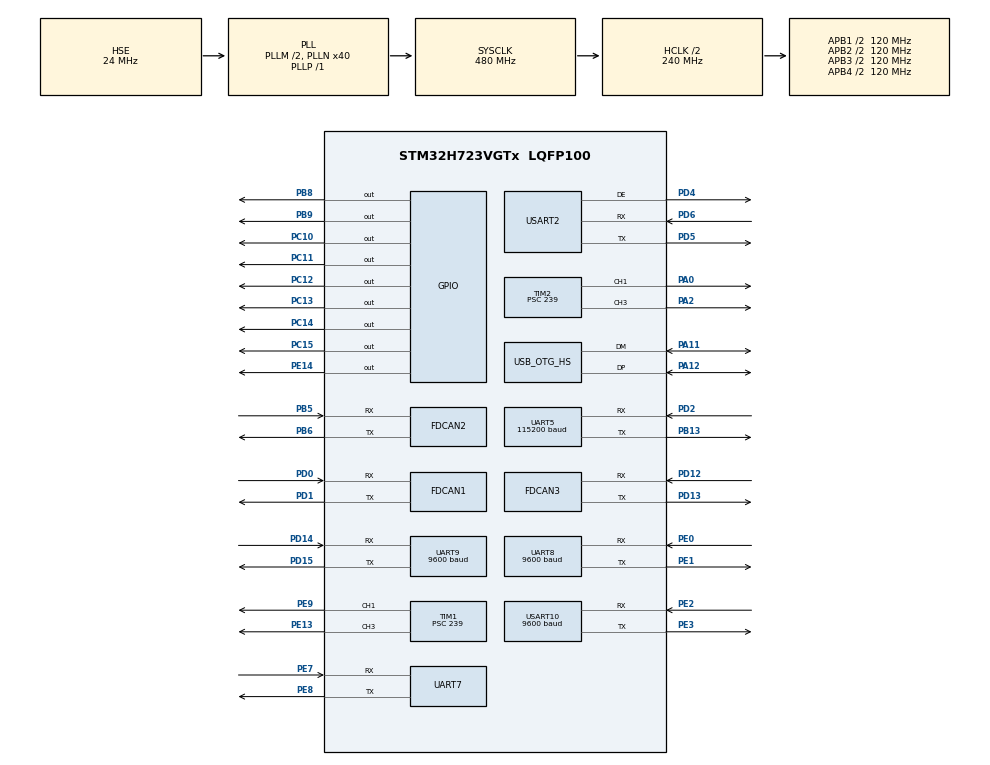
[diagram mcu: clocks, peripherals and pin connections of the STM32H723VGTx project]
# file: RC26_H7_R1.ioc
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CORTEX_M7.AccessPermission-Cortex_Memory_Protection_Unit_Region0_Settings=MPU_REGION_FULL_ACCESS
CORTEX_M7.BaseAddress-Cortex_Memory_Protection_Unit_Region0_Settings=0x20000000
CORTEX_M7.Enable-Cortex_Memory_Protection_Unit_Region0_Settings=MPU_REGION_ENABLE
CORTEX_M7.IsBufferable-Cortex_Memory_Protection_Unit_Region0_Settings=MPU_ACCESS_BUFFERABLE
CORTEX_M7.IsCacheable-Cortex_Memory_Protection_Unit_Region0_Settings=MPU_ACCESS_CACHEABLE
CORTEX_M7.MPU_Control=MPU_PRIVILEGED_DEFAULT
CORTEX_M7.Size-Cortex_Memory_Protection_Unit_Region0_Settings=MPU_REGION_SIZE_512KB
CORTEX_M7.TypeExtField-Cortex_Memory_Protection_Unit_Region0_Settings=MPU_TEX_LEVEL1
CORTEX_M7.default_mode_Activation=0
Dma.Request0=UART5_RX
Dma.Request1=UART7_RX
Dma.Request2=USART2_RX
Dma.UART5_RX.0.Direction=DMA_PERIPH_TO_MEMORY
Dma.UART5_RX.0.EventEnable=DISABLE
Dma.UART5_RX.0.FIFOMode=DMA_FIFOMODE_DISABLE
Dma.UART5_RX.0.Instance=DMA1_Stream2
Dma.UART5_RX.0.MemDataAlignment=DMA_MDATAALIGN_BYTE
Dma.UART5_RX.0.MemInc=DMA_MINC_ENABLE
Dma.UART5_RX.0.Mode=DMA_CIRCULAR
Dma.UART5_RX.0.PeriphDataAlignment=DMA_PDATAALIGN_BYTE
Dma.UART5_RX.0.PeriphInc=DMA_PINC_DISABLE
Dma.UART5_RX.0.Polarity=HAL_DMAMUX_REQ_GEN_RISING
Dma.UART5_RX.0.Priority=DMA_PRIORITY_VERY_HIGH
Dma.UART5_RX.0.RequestNumber=1
Dma.UART5_RX.0.SignalID=NONE
Dma.UART5_RX.0.SyncEnable=DISABLE
Dma.UART5_RX.0.SyncPolarity=HAL_DMAMUX_SYNC_NO_EVENT
Dma.UART5_RX.0.SyncRequestNumber=1
Dma.UART5_RX.0.SyncSignalID=NONE
Dma.UART7_RX.1.Direction=DMA_PERIPH_TO_MEMORY
Dma.UART7_RX.1.EventEnable=DISABLE
Dma.UART7_RX.1.FIFOMode=DMA_FIFOMODE_DISABLE
Dma.UART7_RX.1.Instance=DMA1_Stream3
Dma.UART7_RX.1.MemDataAlignment=DMA_MDATAALIGN_BYTE
Dma.UART7_RX.1.MemInc=DMA_MINC_ENABLE
Dma.UART7_RX.1.Mode=DMA_NORMAL
Dma.UART7_RX.1.PeriphDataAlignment=DMA_PDATAALIGN_BYTE
Dma.UART7_RX.1.PeriphInc=DMA_PINC_DISABLE
Dma.UART7_RX.1.Polarity=HAL_DMAMUX_REQ_GEN_RISING
Dma.UART7_RX.1.Priority=DMA_PRIORITY_LOW
Dma.UART7_RX.1.RequestNumber=1
Dma.UART7_RX.1.SignalID=NONE
Dma.UART7_RX.1.SyncEnable=DISABLE
Dma.UART7_RX.1.SyncPolarity=HAL_DMAMUX_SYNC_NO_EVENT
Dma.UART7_RX.1.SyncRequestNumber=1
Dma.UART7_RX.1.SyncSignalID=NONE
Dma.USART2_RX.2.Direction=DMA_PERIPH_TO_MEMORY
Dma.USART2_RX.2.EventEnable=DISABLE
Dma.USART2_RX.2.FIFOMode=DMA_FIFOMODE_DISABLE
Dma.USART2_RX.2.Instance=DMA1_Stream0
Dma.USART2_RX.2.MemDataAlignment=DMA_MDATAALIGN_BYTE
Dma.USART2_RX.2.MemInc=DMA_MINC_ENABLE
Dma.USART2_RX.2.Mode=DMA_CIRCULAR
Dma.USART2_RX.2.PeriphDataAlignment=DMA_PDATAALIGN_BYTE
Dma.USART2_RX.2.PeriphInc=DMA_PINC_DISABLE
Dma.USART2_RX.2.Polarity=HAL_DMAMUX_REQ_GEN_RISING
Dma.USART2_RX.2.Priority=DMA_PRIORITY_LOW
Dma.USART2_RX.2.RequestNumber=1
Dma.USART2_RX.2.SignalID=NONE
Dma.USART2_RX.2.SyncEnable=DISABLE
Dma.USART2_RX.2.SyncPolarity=HAL_DMAMUX_SYNC_NO_EVENT
Dma.USART2_RX.2.SyncRequestNumber=1
Dma.USART2_RX.2.SyncSignalID=NONE
FDCAN1.CalculateBaudRateNominal=1000000
FDCAN1.CalculateTimeBitNominal=1000
FDCAN1.CalculateTimeQuantumNominal=25.0
FDCAN1.DataPrescaler=3
FDCAN1.DataSyncJumpWidth=10
FDCAN1.DataTimeSeg1=29
FDCAN1.DataTimeSeg2=10
FDCAN1.NominalPrescaler=3
FDCAN1.NominalSyncJumpWidth=10
FDCAN1.NominalTimeSeg1=29
FDCAN1.NominalTimeSeg2=10
FDCAN1.RxFifo0ElmtsNbr=12
FDCAN1.StdFiltersNbr=1
FDCAN1.TxFifoQueueElmtsNbr=12
FDCAN2.CalculateBaudRateNominal=1000000
FDCAN2.CalculateTimeBitNominal=1000
FDCAN2.CalculateTimeQuantumNominal=25.0
FDCAN2.DataPrescaler=3
FDCAN2.DataSyncJumpWidth=10
FDCAN2.DataTimeSeg1=29
FDCAN2.DataTimeSeg2=10
FDCAN2.MessageRAMOffset=854
FDCAN2.NominalPrescaler=3
FDCAN2.NominalSyncJumpWidth=10
FDCAN2.NominalTimeSeg1=29
FDCAN2.NominalTimeSeg2=10
FDCAN2.RxFifo0ElmtsNbr=12
FDCAN2.StdFiltersNbr=1
FDCAN2.TxFifoQueueElmtsNbr=12
FDCAN3.CalculateBaudRateNominal=1000000
FDCAN3.CalculateTimeBitNominal=1000
FDCAN3.CalculateTimeQuantumNominal=25.0
FDCAN3.DataPrescaler=3
FDCAN3.DataSyncJumpWidth=10
FDCAN3.DataTimeSeg1=29
FDCAN3.DataTimeSeg2=10
FDCAN3.MessageRAMOffset=1707
FDCAN3.NominalPrescaler=3
FDCAN3.NominalSyncJumpWidth=10
FDCAN3.NominalTimeSeg1=29
FDCAN3.NominalTimeSeg2=10
FDCAN3.RxFifo0ElmtsNbr=12
FDCAN3.StdFiltersNbr=1
FDCAN3.TxFifoQueueElmtsNbr=12
FREERTOS.Tasks01=defaultTask,24,128,StartDefaultTask,Default,NULL,Dynamic,NULL,NULL;FreeTask,32,128,Free_Task,As weak,NULL,Dynamic,NULL,NULL;SentTask,48,128,Sent_Task,As weak,NULL,Dynamic,NULL,NULL;CheckTask,32,128,Check_Task,As weak,NULL,Dynamic,NULL,NULL
Mcu.Family=STM32H7
Mcu.Name=STM32H723VGTx
Mcu.Package=LQFP100
NVIC.DMA1_Stream0_IRQn=true\:5\:0\:false\:false\:true\:true\:false\:true\:true
NVIC.DMA1_Stream2_IRQn=true\:5\:0\:true\:false\:true\:true\:false\:true\:true
NVIC.DMA1_Stream3_IRQn=true\:5\:0\:false\:false\:true\:true\:false\:true\:true
NVIC.FDCAN1_IT0_IRQn=true\:6\:0\:true\:false\:true\:true\:true\:true\:true
NVIC.FDCAN2_IT0_IRQn=true\:6\:0\:true\:false\:true\:true\:true\:true\:true
NVIC.FDCAN3_IT0_IRQn=true\:6\:0\:true\:false\:true\:true\:true\:true\:true
NVIC.OTG_HS_IRQn=true\:5\:0\:false\:false\:true\:true\:true\:true\:true
NVIC.PriorityGroup=NVIC_PRIORITYGROUP_4
NVIC.TIM4_IRQn=true\:6\:0\:true\:false\:true\:true\:true\:true\:true
NVIC.TIM5_IRQn=true\:6\:0\:true\:false\:true\:true\:true\:true\:true
NVIC.TIM8_BRK_TIM12_IRQn=true\:5\:0\:false\:false\:true\:true\:true\:true\:true
NVIC.TIM8_UP_TIM13_IRQn=true\:15\:0\:false\:false\:true\:false\:false\:true\:true
NVIC.TimeBase=TIM8_UP_TIM13_IRQn
NVIC.TimeBaseIP=TIM8
NVIC.UART5_IRQn=true\:5\:0\:true\:false\:true\:true\:true\:true\:true
NVIC.UART7_IRQn=true\:5\:0\:true\:false\:true\:true\:true\:true\:true
NVIC.UART8_IRQn=true\:6\:0\:true\:false\:true\:true\:true\:true\:true
NVIC.UART9_IRQn=true\:6\:0\:true\:false\:true\:true\:true\:true\:true
NVIC.USART2_IRQn=true\:5\:0\:false\:false\:true\:true\:true\:true\:true
PA0.Signal=S_TIM2_CH1_ETR
PA11.Mode=Device_Only_FS
PA11.Signal=USB_OTG_HS_DM
PA12.Mode=Device_Only_FS
PA12.Signal=USB_OTG_HS_DP
PA13(JTMS/SWDIO).Mode=Serial_Wire
PA13(JTMS/SWDIO).Signal=DEBUG_JTMS-SWDIO
PA14(JTCK/SWCLK).Mode=Serial_Wire
PA14(JTCK/SWCLK).Signal=DEBUG_JTCK-SWCLK
PA2.Signal=S_TIM2_CH3
PB13.Mode=Asynchronous
PB13.Signal=UART5_TX
PB5.Mode=FDCAN_Activate
PB5.Signal=FDCAN2_RX
PB6.Mode=FDCAN_Activate
PB6.Signal=FDCAN2_TX
PB8.GPIO_PuPd=GPIO_PULLDOWN
PB8.Signal=GPIO_Output
PB9.GPIO_PuPd=GPIO_PULLDOWN
PB9.Signal=GPIO_Output
PC10.GPIO_PuPd=GPIO_PULLDOWN
PC10.Signal=GPIO_Output
PC11.GPIO_PuPd=GPIO_PULLDOWN
PC11.Signal=GPIO_Output
PC12.GPIO_PuPd=GPIO_PULLDOWN
PC12.Signal=GPIO_Output
PC13.GPIO_PuPd=GPIO_PULLUP
PC13.Signal=GPIO_Output
PC14-OSC32_IN.GPIO_PuPd=GPIO_PULLUP
PC14-OSC32_IN.Signal=GPIO_Output
PC15-OSC32_OUT.GPIO_PuPd=GPIO_PULLUP
PC15-OSC32_OUT.Signal=GPIO_Output
PD0.Mode=FDCAN_Activate
PD0.Signal=FDCAN1_RX
PD1.Mode=FDCAN_Activate
PD1.Signal=FDCAN1_TX
PD12.Mode=FDCAN_Activate
PD12.Signal=FDCAN3_RX
PD13.Mode=FDCAN_Activate
PD13.Signal=FDCAN3_TX
PD14.Mode=Asynchronous
PD14.Signal=UART9_RX
PD15.Mode=Asynchronous
PD15.Signal=UART9_TX
PD2.Mode=Asynchronous
PD2.Signal=UART5_RX
PD4.Mode=Hardware Flow Control (RS485)
PD4.Signal=USART2_DE
PD5.Mode=Asynchronous
PD5.Signal=USART2_TX
PD6.Mode=Asynchronous
PD6.Signal=USART2_RX
PE0.Mode=Asynchronous
PE0.Signal=UART8_RX
PE1.Mode=Asynchronous
PE1.Signal=UART8_TX
PE13.Signal=S_TIM1_CH3
PE14.GPIO_PuPd=GPIO_PULLDOWN
PE14.Signal=GPIO_Output
PE2.Mode=Asynchronous
PE2.Signal=USART10_RX
PE3.Mode=Asynchronous
PE3.Signal=USART10_TX
PE7.Mode=Asynchronous
PE7.Signal=UART7_RX
PE8.Mode=Asynchronous
PE8.Signal=UART7_TX
PE9.Signal=S_TIM1_CH1
PH0-OSC_IN.Mode=HSE-External-Oscillator
PH0-OSC_IN.Signal=RCC_OSC_IN
PH1-OSC_OUT.Mode=HSE-External-Oscillator
PH1-OSC_OUT.Signal=RCC_OSC_OUT
ProjectManager.HeapSize=0x200
ProjectManager.StackSize=0x400
ProjectManager.TargetToolchain=MDK-ARM V5.32
RCC.ADCFreq_Value=48375000
RCC.APB1Freq_Value=120000000
RCC.APB2Freq_Value=120000000
RCC.APB3Freq_Value=120000000
RCC.APB4Freq_Value=120000000
RCC.CortexFreq_Value=480000000
RCC.D1PPRE=RCC_APB3_DIV2
RCC.D2PPRE1=RCC_APB1_DIV2
RCC.D2PPRE2=RCC_APB2_DIV2
RCC.D3PPRE=RCC_APB4_DIV2
RCC.DIVM1=2
RCC.DIVN1=40
RCC.DIVP1=1
RCC.DIVQ1=4
RCC.HCLKFreq_Value=240000000
RCC.HPRE=RCC_HCLK_DIV2
RCC.HSE_VALUE=24000000
RCC.PLL2FRACN=0
RCC.PLL3FRACN=0
RCC.PLLFRACN=0
RCC.PLLSourceVirtual=RCC_PLLSOURCE_HSE
RCC.SYSCLKFreq_VALUE=480000000
RCC.SYSCLKSource=RCC_SYSCLKSOURCE_PLLCLK
RCC.USBCLockSelection=RCC_USBCLKSOURCE_HSI48
RCC.USBFreq_Value=48000000
SH.S_TIM1_CH1.0=TIM1_CH1,PWM Generation1 CH1
SH.S_TIM1_CH3.0=TIM1_CH3,PWM Generation3 CH3
SH.S_TIM2_CH1_ETR.0=TIM2_CH1,PWM Generation1 CH1
SH.S_TIM2_CH3.0=TIM2_CH3,PWM Generation3 CH3
TIM1.Channel-PWM\ Generation1\ CH1=TIM_CHANNEL_1
TIM1.Channel-PWM\ Generation3\ CH3=TIM_CHANNEL_3
TIM1.Period=19999
TIM1.Prescaler=239
TIM12.Period=19999
TIM12.Prescaler=23
TIM2.AutoReloadPreload=TIM_AUTORELOAD_PRELOAD_ENABLE
TIM2.Channel-PWM\ Generation1\ CH1=TIM_CHANNEL_1
TIM2.Channel-PWM\ Generation3\ CH3=TIM_CHANNEL_3
TIM2.Period=19999
TIM2.Prescaler=239
TIM4.Period=9999
TIM4.Prescaler=239
TIM5.Period=39999
TIM5.Prescaler=23
UART5.BaudRate=115200
UART5.Parity=PARITY_NONE
UART5.RxPinLevelInvertParam=UART_ADVFEATURE_RXINV_ENABLE
UART5.StopBits=UART_STOPBITS_1
UART5.WordLength=WORDLENGTH_8B
UART8.BaudRate=9600
UART9.BaudRate=9600
USART10.BaudRate=9600
USART10.VirtualMode=VM_ASYNC
USART2.VirtualMode-Asynchronous=VM_ASYNC
USART2.VirtualMode-Hardware\ Flow\ Control\ (RS485)=VM_ASYNC
USB_DEVICE.CLASS_NAME_HS=CDC
USB_DEVICE.VirtualMode=Cdc
USB_DEVICE.VirtualModeHS=Cdc_HS
USB_OTG_HS.VirtualMode-Device_Only_FS=Device_Only_FS
VP_FREERTOS_VS_CMSIS_V2.Mode=CMSIS_V2
VP_MEMORYMAP_VS_MEMORYMAP.Mode=CurAppReg
VP_SYS_VS_tim8.Mode=TIM8
VP_TIM12_VS_ClockSourceINT.Mode=Internal
VP_TIM1_VS_ClockSourceINT.Mode=Internal
VP_TIM2_VS_ClockSourceINT.Mode=Internal
VP_TIM4_VS_ClockSourceINT.Mode=Internal
VP_TIM5_VS_ClockSourceINT.Mode=Internal
VP_USB_DEVICE_VS_USB_DEVICE_CDC_HS.Mode=CDC_HS
board=custom

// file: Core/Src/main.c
/* USER CODE BEGIN Header */
/**
  ******************************************************************************
  * @file           : main.c
  * @brief          : Main program body
  ******************************************************************************
  * @attention
  *
  * Copyright (c) 2026 STMicroelectronics.
  * All rights reserved.
  *
  * This software is licensed under terms that can be found in the LICENSE file
  * in the root directory of this software component.
  * If no LICENSE file comes with this software, it is provided AS-IS.
  *
  ******************************************************************************
  */
/* USER CODE END Header */
#include "main.h"
#include "FreeRTOS.h"
#include "cmsis_os2.h"
#include "dma.h"
#include "fdcan.h"
#include "tim.h"
#include "usart.h"
#include "usb_device.h"
#include "gpio.h"

/* USER CODE BEGIN Includes */
#include "register.h"
#include "bsp_can.h"
#include "bsp_uart.h"
#include "upper_pc_protocol.h"
/* USER CODE END Includes */

void SystemClock_Config(void);
static void MPU_Config(void);
void MX_FREERTOS_Init(void);

int main(void)
{

  /* USER CODE BEGIN 1 */
  /* USB SE0 fix: drive D+ HIGH, D- LOW immediately after reset to prevent   */
  /* Jetson Nano xHCI from seeing SE0 >1ms and locking the entire USB bus.    */
  /* PA11=USB_DM(D-), PA12=USB_DP(D+) — create FS idle J state, not SE0.     */
  /* USER CODE END 1 */

  /* MPU Configuration--------------------------------------------------------*/
  MPU_Config();

  /* MCU Configuration--------------------------------------------------------*/

  /* Reset of all peripherals, Initializes the Flash interface and the Systick. */
  HAL_Init();

  /* Configure the system clock */
  SystemClock_Config();

  /* Initialize all configured peripherals */
  MX_GPIO_Init();
  MX_DMA_Init();
  MX_TIM2_Init();
  MX_TIM4_Init();
  MX_UART5_Init();
  MX_UART7_Init();
  MX_FDCAN1_Init();
  MX_FDCAN2_Init();
  MX_FDCAN3_Init();
  MX_TIM5_Init();
  MX_UART8_Init();
  MX_TIM12_Init();
  MX_USART2_UART_Init();
  MX_UART9_Init();
  MX_USART10_UART_Init();
  MX_TIM1_Init();
  /* USER CODE BEGIN 2 */
  BSP_CAN_Init();
  BSP_USART_Init();

  HAL_Delay(1500);
  Structue_Init();

	HAL_Delay(5);
	HAL_GPIO_WritePin(GPIOC,GPIO_PIN_15,GPIO_PIN_SET);
	HAL_TIM_Base_Start(&htim2);
  HAL_TIM_PWM_Start(&htim2,TIM_CHANNEL_1 );
  HAL_TIM_PWM_Start(&htim2,TIM_CHANNEL_3 );

	HAL_TIM_Base_Start(&htim4);
	HAL_TIM_Base_Start_IT(&htim4);
	HAL_TIM_Base_Start(&htim5);
	HAL_TIM_Base_Start_IT(&htim5);
	 __HAL_TIM_SET_COMPARE(&htim2,TIM_CHANNEL_1,1600);
	 __HAL_TIM_SET_COMPARE(&htim2,TIM_CHANNEL_3,2500);
  /* USER CODE END 2 */

  MX_USB_DEVICE_Init();
  /* Init scheduler */
  osKernelInitialize();  /* Call init function for freertos objects (in cmsis_os2.c) */
  MX_FREERTOS_Init();

  /* Start scheduler */
  osKernelStart();

  /* We should never get here as control is now taken by the scheduler */

  /* Infinite loop */
  while (1)
  {

  }
}

void SystemClock_Config(void)
{
  RCC_OscInitTypeDef RCC_OscInitStruct = {0};
  RCC_ClkInitTypeDef RCC_ClkInitStruct = {0};

  /** Supply configuration update enable
  */
  HAL_PWREx_ConfigSupply(PWR_LDO_SUPPLY);

  /** Configure the main internal regulator output voltage
  */
  __HAL_PWR_VOLTAGESCALING_CONFIG(PWR_REGULATOR_VOLTAGE_SCALE0);

  while(!__HAL_PWR_GET_FLAG(PWR_FLAG_VOSRDY)) {}

  /** Initializes the RCC Oscillators according to the specified parameters
  * in the RCC_OscInitTypeDef structure.
  */
  RCC_OscInitStruct.OscillatorType = RCC_OSCILLATORTYPE_HSI48|RCC_OSCILLATORTYPE_HSE;
  RCC_OscInitStruct.HSEState = RCC_HSE_ON;
  RCC_OscInitStruct.HSI48State = RCC_HSI48_ON;
  RCC_OscInitStruct.PLL.PLLState = RCC_PLL_ON;
  RCC_OscInitStruct.PLL.PLLSource = RCC_PLLSOURCE_HSE;
  RCC_OscInitStruct.PLL.PLLM = 2;
  RCC_OscInitStruct.PLL.PLLN = 40;
  RCC_OscInitStruct.PLL.PLLP = 1;
  RCC_OscInitStruct.PLL.PLLQ = 4;
  RCC_OscInitStruct.PLL.PLLR = 2;
  RCC_OscInitStruct.PLL.PLLRGE = RCC_PLL1VCIRANGE_3;
  RCC_OscInitStruct.PLL.PLLVCOSEL = RCC_PLL1VCOWIDE;
  RCC_OscInitStruct.PLL.PLLFRACN = 0;
  if (HAL_RCC_OscConfig(&RCC_OscInitStruct) != HAL_OK)
  {
    Error_Handler();
  }

  /** Initializes the CPU, AHB and APB buses clocks
  */
  RCC_ClkInitStruct.ClockType = RCC_CLOCKTYPE_HCLK|RCC_CLOCKTYPE_SYSCLK
                              |RCC_CLOCKTYPE_PCLK1|RCC_CLOCKTYPE_PCLK2
                              |RCC_CLOCKTYPE_D3PCLK1|RCC_CLOCKTYPE_D1PCLK1;
  RCC_ClkInitStruct.SYSCLKSource = RCC_SYSCLKSOURCE_PLLCLK;
  RCC_ClkInitStruct.SYSCLKDivider = RCC_SYSCLK_DIV1;
  RCC_ClkInitStruct.AHBCLKDivider = RCC_HCLK_DIV2;
  RCC_ClkInitStruct.APB3CLKDivider = RCC_APB3_DIV2;
  RCC_ClkInitStruct.APB1CLKDivider = RCC_APB1_DIV2;
  RCC_ClkInitStruct.APB2CLKDivider = RCC_APB2_DIV2;
  RCC_ClkInitStruct.APB4CLKDivider = RCC_APB4_DIV2;

  if (HAL_RCC_ClockConfig(&RCC_ClkInitStruct, FLASH_LATENCY_3) != HAL_OK)
  {
    Error_Handler();
  }
}

 /* MPU Configuration */

void MPU_Config(void)
{
  MPU_Region_InitTypeDef MPU_InitStruct = {0};

  /* Disables the MPU */
  HAL_MPU_Disable();

  /** Initializes and configures the Region and the memory to be protected
  */
  MPU_InitStruct.Enable = MPU_REGION_ENABLE;
  MPU_InitStruct.Number = MPU_REGION_NUMBER0;
  MPU_InitStruct.BaseAddress = 0x20000000;
  MPU_InitStruct.Size = MPU_REGION_SIZE_512KB;
  MPU_InitStruct.SubRegionDisable = 0x0;
  MPU_InitStruct.TypeExtField = MPU_TEX_LEVEL1;
  MPU_InitStruct.AccessPermission = MPU_REGION_FULL_ACCESS;
  MPU_InitStruct.DisableExec = MPU_INSTRUCTION_ACCESS_ENABLE;
  MPU_InitStruct.IsShareable = MPU_ACCESS_NOT_SHAREABLE;
  MPU_InitStruct.IsCacheable = MPU_ACCESS_CACHEABLE;
  MPU_InitStruct.IsBufferable = MPU_ACCESS_BUFFERABLE;

  HAL_MPU_ConfigRegion(&MPU_InitStruct);
  /* Enables the MPU */
  HAL_MPU_Enable(MPU_PRIVILEGED_DEFAULT);

}

void HAL_TIM_PeriodElapsedCallback(TIM_HandleTypeDef *htim)
{
  if (htim->Instance == TIM8)
  {
    HAL_IncTick();
  }
}

void Error_Handler(void)
{
  __disable_irq();
  while (1)
  {
  }
}

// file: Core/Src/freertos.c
/* USER CODE BEGIN Header */
/**
  ******************************************************************************
  * File Name          : freertos.c
  * Description        : Code for freertos applications
  ******************************************************************************
  * @attention
  *
  * Copyright (c) 2026 STMicroelectronics.
  * All rights reserved.
  *
  * This software is licensed under terms that can be found in the LICENSE file
  * in the root directory of this software component.
  * If no LICENSE file comes with this software, it is provided AS-IS.
  *
  ******************************************************************************
  */
/* USER CODE END Header */

#include "FreeRTOS.h"
#include "task.h"
#include "main.h"
#include "FreeRTOS.h"
#include "cmsis_os2.h"

/* USER CODE BEGIN Includes */
#include "Sensor_Task.h"

/* USER CODE END Includes */

/* Definitions for defaultTask */
osThreadId_t defaultTaskHandle;
const osThreadAttr_t defaultTask_attributes = {
  .name = "defaultTask",
  .stack_size = 128 * 4,
  .priority = (osPriority_t) osPriorityNormal,
};
/* Definitions for FreeTask */
osThreadId_t FreeTaskHandle;
const osThreadAttr_t FreeTask_attributes = {
  .name = "FreeTask",
  .stack_size = 128 * 4,
  .priority = (osPriority_t) osPriorityAboveNormal,
};
/* Definitions for SentTask */
osThreadId_t SentTaskHandle;
const osThreadAttr_t SentTask_attributes = {
  .name = "SentTask",
  .stack_size = 128 * 4,
  .priority = (osPriority_t) osPriorityRealtime,
};
/* Definitions for CheckTask */
osThreadId_t CheckTaskHandle;
const osThreadAttr_t CheckTask_attributes = {
  .name = "CheckTask",
  .stack_size = 128 * 4,
  .priority = (osPriority_t) osPriorityAboveNormal,
};

/* USER CODE BEGIN FunctionPrototypes */
osThreadId_t SensorTaskHandle;
const osThreadAttr_t SensorTask_attributes = {
  .name = "SensorTask",
  .stack_size = 128 * 4,
  .priority = (osPriority_t) osPriorityRealtime2,
};
/* USER CODE END FunctionPrototypes */

void StartDefaultTask(void *argument);
void Free_Task(void *argument);
void Sent_Task(void *argument);
void Check_Task(void *argument);

extern void MX_USB_DEVICE_Init(void);
void MX_FREERTOS_Init(void); /* (MISRA C 2004 rule 8.1) */

void MX_FREERTOS_Init(void) {

  /* Create the thread(s) */
  /* creation of defaultTask */
  defaultTaskHandle = osThreadNew(StartDefaultTask, NULL, &defaultTask_attributes);

  /* creation of FreeTask */
  FreeTaskHandle = osThreadNew(Free_Task, NULL, &FreeTask_attributes);

  /* creation of SentTask */
  SentTaskHandle = osThreadNew(Sent_Task, NULL, &SentTask_attributes);

  /* creation of CheckTask */
  CheckTaskHandle = osThreadNew(Check_Task, NULL, &CheckTask_attributes);

  /* USER CODE BEGIN RTOS_THREADS */
  SensorTaskHandle = osThreadNew(Sensor_Task, NULL, &SensorTask_attributes);
  /* add threads, ... */
  /* USER CODE END RTOS_THREADS */

}

void StartDefaultTask(void *argument)
{
  /* init code for USB_DEVICE */
  MX_USB_DEVICE_Init();
  for(;;)
  {
    osDelay(1);
  }
}

__weak void Free_Task(void *argument)
{
  for(;;)
  {
    osDelay(1);
  }
}

__weak void Sent_Task(void *argument)
{
  for(;;)
  {
    osDelay(1);
  }
}

__weak void Check_Task(void *argument)
{
  for(;;)
  {
    osDelay(1);
  }
}
